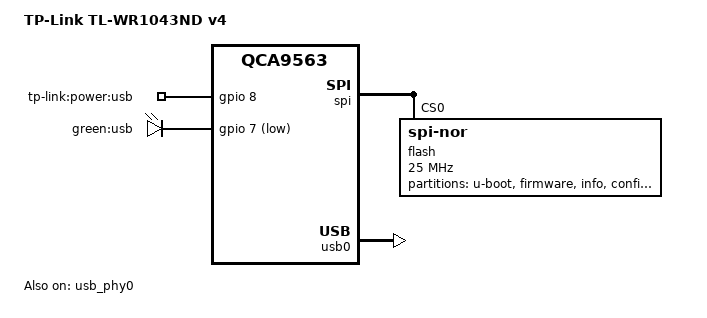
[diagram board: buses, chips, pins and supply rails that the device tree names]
// SPDX-License-Identifier: GPL-2.0-or-later OR MIT

#include "qca9563_tplink_tl-wr1043n.dtsi"

/ {
	compatible = "tplink,tl-wr1043nd-v4", "qca,qca9563";
	model = "TP-Link TL-WR1043ND v4";

	gpio-export {
		compatible = "gpio-export";
		#size-cells = <0>;

		gpio_usb_power {
			gpio-export,name = "tp-link:power:usb";
			gpio-export,output = <1>;
			gpios = <&gpio 8 GPIO_ACTIVE_HIGH>;
		};
	};
};

&spi {
	status = "okay";

	flash@0 {
		compatible = "jedec,spi-nor";
		reg = <0>;
		spi-max-frequency = <25000000>;

		partitions {
			compatible = "fixed-partitions";
			#address-cells = <1>;
			#size-cells = <1>;

			partition@0 {
				label = "u-boot";
				reg = <0x000000 0x020000>;
				read-only;
			};

			partition@20000 {
				compatible = "tplink,firmware";
				label = "firmware";
				reg = <0x020000 0xf30000>;
			};

			info: partition@f50000 {
				label = "info";
				reg = <0xf50000 0x020000>;
				read-only;
			};

			partition@f70000 {
				label = "config";
				reg = <0xf70000 0x050000>;
				read-only;
			};

			partition@fc0000 {
				label = "partition-table";
				reg = <0xfc0000 0x010000>;
				read-only;
			};

			partition@fd0000 {
				label = "logs";
				reg = <0xfd0000 0x020000>;
				read-only;
			};

			art: partition@ff0000 {
				label = "art";
				reg = <0xff0000 0x010000>;
				read-only;
			};
		};
	};
};

&leds {
	usb {
		label = "green:usb";
		gpios = <&gpio 7 GPIO_ACTIVE_LOW>;
		trigger-sources = <&hub_port0>;
		linux,default-trigger = "usbport";
	};
};

&usb_phy0 {
	status = "okay";
};

&usb0 {
	#address-cells = <1>;
	#size-cells = <0>;
	status = "okay";

	hub_port0: port@1 {
		reg = <1>;
		#trigger-source-cells = <0>;
	};
};
